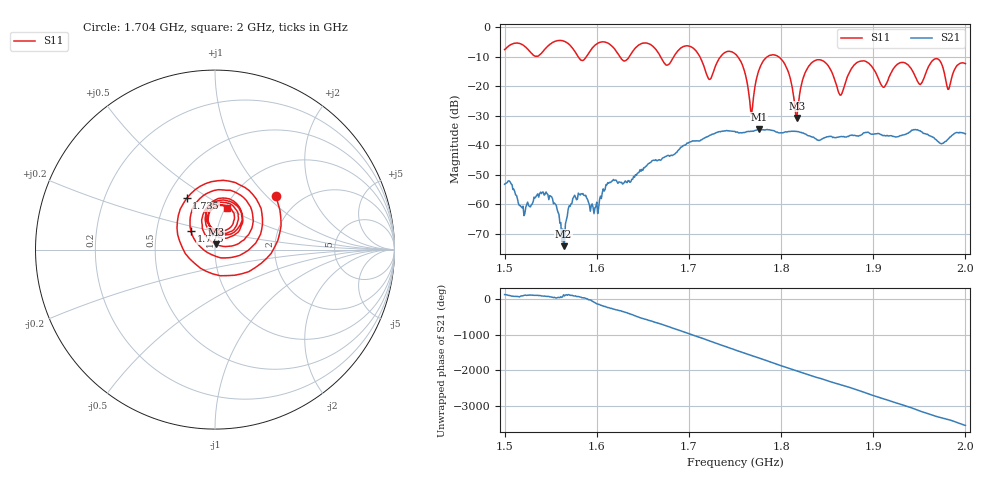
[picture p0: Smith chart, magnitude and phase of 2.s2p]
! NanoVNA-App by SYSJOINT et al v1.1.209 (+OD18)
! Date: 2026-01-21 14:46:22
! Start: 1,5GHz Stop: 2GHz Points: 501
! S-Parameter data: F S11 S21 S12 S22
# Hz S RI R 50
!  Frequency  S11_Real  S11_Imag  S21_Real  S21_Imag  S12_Real  S12_Imag  S22_Real  S22_Imag
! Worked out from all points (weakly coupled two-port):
!   501 points, 1.5 GHz to 2 GHz, reference 50 ohm
!   highest |S21| = -34.54 dB at 1.776 GHz (marker M1); lowest = -74.1 dB at 1.564 GHz (marker M2)
!   lowest |S11| = -30.8 dB at 1.817 GHz (marker M3), VSWR 1.06, Z = 50.4 + j2.88 ohm
!   |S11| at or under -10 dB: 1.712 GHz to 1.734 GHz (22.45 MHz wide, 1.3 % of centre); 1.753 GHz to 1.785 GHz (32.22 MHz wide, 1.82 % of centre); 1.797 GHz to end of sweep (the widest 3 of 6)
!   S12 and S22 are empty: the file has one direction only
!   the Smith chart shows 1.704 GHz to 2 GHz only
!   S11 on the Smith chart (normalised r, x): 1.704 GHz: 1.52, +1.13; 1.735 GHz: 0.63, +0.40; 1.775 GHz: 0.75, +0.16; 2 GHz: 1.02, +0.50
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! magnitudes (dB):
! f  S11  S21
! 1.5 GHz  -7.6  -53.2
! 1.52 GHz  -6.1  -60.6
! 1.549 GHz  -5.8  -57.0
! 1.564 GHz  -4.7  -74.1
! 1.584 GHz  -11.2  -56.5
! 1.599 GHz  -5.9  -60.8
! 1.667 GHz  -8.8  -44.9
! 1.704 GHz  -6.9  -38.5
! 1.722 GHz  -17.7  -36.7
! 1.735 GHz  -9.7  -35.3
! 1.75 GHz  -9.0  -35.3
! 1.768 GHz  -29.4  -35.3
! 1.775 GHz  -15.5  -34.7
! 1.776 GHz  -14.5  -34.5
! 1.8 GHz  -10.8  -35.7
! 1.817 GHz  -30.8  -35.3
! 1.834 GHz  -11.8  -37.2
! 1.864 GHz  -23.0  -37.1
! 1.885 GHz  -11.6  -36.7
! 1.917 GHz  -17.0  -36.8
! 1.982 GHz  -21.0  -37.7
! 2 GHz  -12.3  -36.1
